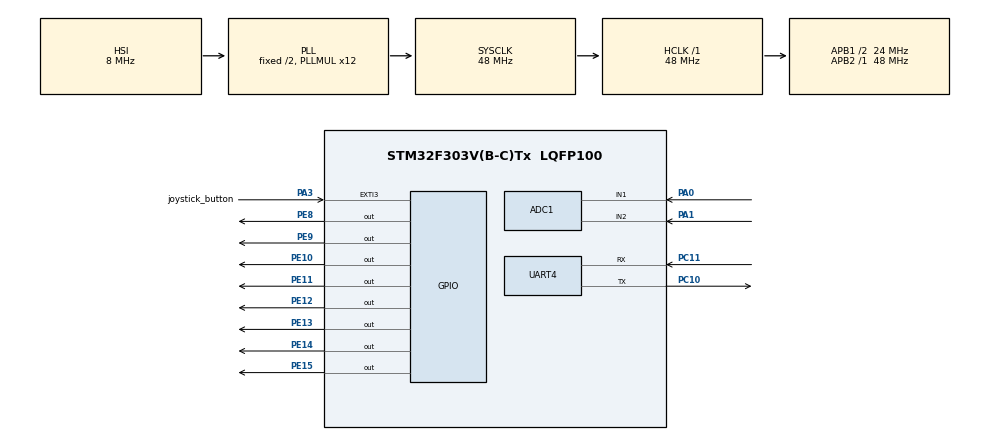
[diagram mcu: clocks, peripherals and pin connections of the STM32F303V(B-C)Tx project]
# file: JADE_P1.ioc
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ADC1.Channel-2\#ChannelRegularConversion=ADC_CHANNEL_1
ADC1.Channel-3\#ChannelRegularConversion=ADC_CHANNEL_2
ADC1.ClockPrescaler=ADC_CLOCK_SYNC_PCLK_DIV4
ADC1.ContinuousConvMode=ENABLE
ADC1.DMAContinuousRequests=ENABLE
ADC1.EOCSelection=ADC_EOC_SEQ_CONV
ADC1.EnableInjectedConversion=DISABLE
ADC1.NbrOfConversion=2
ADC1.NbrOfConversionFlag=1
ADC1.Offset-2\#ChannelRegularConversion=0
ADC1.Offset-3\#ChannelRegularConversion=0
ADC1.OffsetNumber-2\#ChannelRegularConversion=ADC_OFFSET_NONE
ADC1.OffsetNumber-3\#ChannelRegularConversion=ADC_OFFSET_NONE
ADC1.Rank-2\#ChannelRegularConversion=1
ADC1.Rank-3\#ChannelRegularConversion=2
ADC1.SamplingTime-2\#ChannelRegularConversion=ADC_SAMPLETIME_601CYCLES_5
ADC1.SamplingTime-3\#ChannelRegularConversion=ADC_SAMPLETIME_601CYCLES_5
ADC1.SamplingTimeOPAMP-3\#ChannelRegularConversion=ADC_SAMPLETIME_7CYCLES_5
ADC1.master=1
Dma.ADC1.0.Direction=DMA_PERIPH_TO_MEMORY
Dma.ADC1.0.Instance=DMA1_Channel1
Dma.ADC1.0.MemDataAlignment=DMA_MDATAALIGN_HALFWORD
Dma.ADC1.0.MemInc=DMA_MINC_ENABLE
Dma.ADC1.0.Mode=DMA_CIRCULAR
Dma.ADC1.0.PeriphDataAlignment=DMA_PDATAALIGN_HALFWORD
Dma.ADC1.0.PeriphInc=DMA_PINC_DISABLE
Dma.ADC1.0.Priority=DMA_PRIORITY_LOW
Dma.Request0=ADC1
Mcu.Family=STM32F3
Mcu.Name=STM32F303V(B-C)Tx
Mcu.Package=LQFP100
NVIC.DMA1_Channel1_IRQn=true\:0\:0\:false\:false\:true\:false\:true\:true
NVIC.EXTI3_IRQn=true\:0\:0\:false\:false\:true\:true\:true\:true
NVIC.PriorityGroup=NVIC_PRIORITYGROUP_0
PA0.Mode=IN1-Single-Ended
PA0.Signal=ADC1_IN1
PA1.Mode=IN2-Single-Ended
PA1.Signal=ADC1_IN2
PA3.GPIO_Label=joystick_button
PA3.GPIO_ModeDefaultEXTI=GPIO_MODE_IT_RISING_FALLING
PA3.GPIO_PuPd=GPIO_PULLUP
PA3.Signal=GPXTI3
PC10.Mode=Asynchronous
PC10.Signal=UART4_TX
PC11.Mode=Asynchronous
PC11.Signal=UART4_RX
PE10.Signal=GPIO_Output
PE11.Signal=GPIO_Output
PE12.Signal=GPIO_Output
PE13.Signal=GPIO_Output
PE14.Signal=GPIO_Output
PE15.Signal=GPIO_Output
PE8.Signal=GPIO_Output
PE9.Signal=GPIO_Output
ProjectManager.HeapSize=0x200
ProjectManager.StackSize=0x400
ProjectManager.TargetToolchain=STM32CubeIDE
RCC.AHBFreq_Value=48000000
RCC.APB1CLKDivider=RCC_HCLK_DIV2
RCC.APB1Freq_Value=24000000
RCC.APB1TimFreq_Value=48000000
RCC.APB2Freq_Value=48000000
RCC.APB2TimFreq_Value=48000000
RCC.CortexFreq_Value=48000000
RCC.HCLKFreq_Value=48000000
RCC.HSE_VALUE=8000000
RCC.HSI_VALUE=8000000
RCC.LSE_VALUE=32768
RCC.PLLMUL=RCC_PLL_MUL12
RCC.SYSCLKFreq_VALUE=48000000
RCC.SYSCLKSourceVirtual=RCC_SYSCLKSOURCE_PLLCLK
RCC.USBFreq_Value=48000000
board=STM32F3DISCOVERY

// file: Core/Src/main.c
/* USER CODE BEGIN Header */
/**
  ******************************************************************************
  * @file           : main.c
  * @brief          : Main program body
  ******************************************************************************
  * @attention
  *
  * Copyright (c) 2026 STMicroelectronics.
  * All rights reserved.
  *
  * This software is licensed under terms that can be found in the LICENSE file
  * in the root directory of this software component.
  * If no LICENSE file comes with this software, it is provided AS-IS.
  *
  ******************************************************************************
  */
/* USER CODE END Header */
#include "main.h"

/* USER CODE BEGIN Includes */
#include <math.h>
/* USER CODE END Includes */

ADC_HandleTypeDef hadc1;
DMA_HandleTypeDef hdma_adc1;

UART_HandleTypeDef huart4;

void SystemClock_Config(void);
static void MX_GPIO_Init(void);
static void MX_DMA_Init(void);
static void MX_ADC1_Init(void);
static void MX_UART4_Init(void);

/* USER CODE BEGIN 0 */
uint16_t joystickdata[2];
uint8_t flash_mode=0; // 1 = rilasciato, 0 = premuto
uint16_t discovery_leds[]={GPIO_PIN_9, GPIO_PIN_10, GPIO_PIN_11, GPIO_PIN_12,
                             GPIO_PIN_13, GPIO_PIN_14, GPIO_PIN_15, GPIO_PIN_8};
char uart_buf[50];
int buf_len;

void HAL_GPIO_EXTI_Callback(uint16_t GPIO_Pin)
{
  if(GPIO_Pin == joystick_button_Pin)
  {
    if (HAL_GPIO_ReadPin(joystick_button_GPIO_Port, joystick_button_Pin) == GPIO_PIN_RESET)
    {
      flash_mode=1;
    }
    else
    {
      flash_mode=0;
    }
  }
}
/* USER CODE END 0 */

int main(void)
{

  /* MCU Configuration--------------------------------------------------------*/

  /* Reset of all peripherals, Initializes the Flash interface and the Systick. */
  HAL_Init();

  /* Configure the system clock */
  SystemClock_Config();

  /* Initialize all configured peripherals */
  MX_GPIO_Init();
  MX_DMA_Init();
  MX_ADC1_Init();
  MX_UART4_Init();
  /* USER CODE BEGIN 2 */
  HAL_ADCEx_Calibration_Start(&hadc1, ADC_SINGLE_ENDED);
  HAL_ADC_Start_DMA(&hadc1, (uint32_t*)joystickdata, 2);
  /* USER CODE END 2 */

  /* Infinite loop */
  while (1)
  {

    /* USER CODE BEGIN 3 */
	  if (flash_mode)
		  {
			  GPIOE->ODR |= 0xFF00;
		  }
		  else
		  {
			  GPIOE->ODR &= ~0xFF00;

			  buf_len = sprintf(uart_buf, "%u,%u\n", joystickdata[0], joystickdata[1]);
			  HAL_UART_Transmit(&huart4, (uint8_t*)uart_buf, buf_len, 100);

			  float x = (float)joystickdata[0] - 2048;
			  float y = (float)joystickdata[1] - 2048;

			  //Zona morta
			  if ((x*x + y*y) > 500000) //Circa il 25% della corsa
			  {
				  // Calcolo angolo: atan2f restituisce radianti tra -PI e +PI
				  float angle = atan2f(y, x) * 180.0f / 3.14159f;
				  if (angle < 0) angle += 360.0f;

				  int led_index = (int)((angle + 22.5f) / 45.0f) % 8;

				  HAL_GPIO_WritePin(GPIOE, discovery_leds[led_index], GPIO_PIN_SET);
			  }
		  }
		  HAL_Delay(20);
  }
  /* USER CODE END 3 */
}

void SystemClock_Config(void)
{
  RCC_OscInitTypeDef RCC_OscInitStruct = {0};
  RCC_ClkInitTypeDef RCC_ClkInitStruct = {0};
  RCC_PeriphCLKInitTypeDef PeriphClkInit = {0};

  /** Initializes the RCC Oscillators according to the specified parameters
  * in the RCC_OscInitTypeDef structure.
  */
  RCC_OscInitStruct.OscillatorType = RCC_OSCILLATORTYPE_HSI;
  RCC_OscInitStruct.HSIState = RCC_HSI_ON;
  RCC_OscInitStruct.HSICalibrationValue = RCC_HSICALIBRATION_DEFAULT;
  RCC_OscInitStruct.PLL.PLLState = RCC_PLL_ON;
  RCC_OscInitStruct.PLL.PLLSource = RCC_PLLSOURCE_HSI;
  RCC_OscInitStruct.PLL.PLLMUL = RCC_PLL_MUL12;
  if (HAL_RCC_OscConfig(&RCC_OscInitStruct) != HAL_OK)
  {
    Error_Handler();
  }

  /** Initializes the CPU, AHB and APB buses clocks
  */
  RCC_ClkInitStruct.ClockType = RCC_CLOCKTYPE_HCLK|RCC_CLOCKTYPE_SYSCLK
                              |RCC_CLOCKTYPE_PCLK1|RCC_CLOCKTYPE_PCLK2;
  RCC_ClkInitStruct.SYSCLKSource = RCC_SYSCLKSOURCE_PLLCLK;
  RCC_ClkInitStruct.AHBCLKDivider = RCC_SYSCLK_DIV1;
  RCC_ClkInitStruct.APB1CLKDivider = RCC_HCLK_DIV2;
  RCC_ClkInitStruct.APB2CLKDivider = RCC_HCLK_DIV1;

  if (HAL_RCC_ClockConfig(&RCC_ClkInitStruct, FLASH_LATENCY_1) != HAL_OK)
  {
    Error_Handler();
  }
  PeriphClkInit.PeriphClockSelection = RCC_PERIPHCLK_UART4;
  PeriphClkInit.Uart4ClockSelection = RCC_UART4CLKSOURCE_PCLK1;
  if (HAL_RCCEx_PeriphCLKConfig(&PeriphClkInit) != HAL_OK)
  {
    Error_Handler();
  }
}

static void MX_ADC1_Init(void)
{

  ADC_MultiModeTypeDef multimode = {0};
  ADC_ChannelConfTypeDef sConfig = {0};

  /** Common config
  */
  hadc1.Instance = ADC1;
  hadc1.Init.ClockPrescaler = ADC_CLOCK_SYNC_PCLK_DIV4;
  hadc1.Init.Resolution = ADC_RESOLUTION_12B;
  hadc1.Init.ScanConvMode = ADC_SCAN_ENABLE;
  hadc1.Init.ContinuousConvMode = ENABLE;
  hadc1.Init.DiscontinuousConvMode = DISABLE;
  hadc1.Init.ExternalTrigConvEdge = ADC_EXTERNALTRIGCONVEDGE_NONE;
  hadc1.Init.ExternalTrigConv = ADC_SOFTWARE_START;
  hadc1.Init.DataAlign = ADC_DATAALIGN_RIGHT;
  hadc1.Init.NbrOfConversion = 2;
  hadc1.Init.DMAContinuousRequests = ENABLE;
  hadc1.Init.EOCSelection = ADC_EOC_SEQ_CONV;
  hadc1.Init.LowPowerAutoWait = DISABLE;
  hadc1.Init.Overrun = ADC_OVR_DATA_OVERWRITTEN;
  if (HAL_ADC_Init(&hadc1) != HAL_OK)
  {
    Error_Handler();
  }

  /** Configure the ADC multi-mode
  */
  multimode.Mode = ADC_MODE_INDEPENDENT;
  if (HAL_ADCEx_MultiModeConfigChannel(&hadc1, &multimode) != HAL_OK)
  {
    Error_Handler();
  }

  /** Configure Regular Channel
  */
  sConfig.Channel = ADC_CHANNEL_1;
  sConfig.Rank = ADC_REGULAR_RANK_1;
  sConfig.SingleDiff = ADC_SINGLE_ENDED;
  sConfig.SamplingTime = ADC_SAMPLETIME_601CYCLES_5;
  sConfig.OffsetNumber = ADC_OFFSET_NONE;
  sConfig.Offset = 0;
  if (HAL_ADC_ConfigChannel(&hadc1, &sConfig) != HAL_OK)
  {
    Error_Handler();
  }

  /** Configure Regular Channel
  */
  sConfig.Channel = ADC_CHANNEL_2;
  sConfig.Rank = ADC_REGULAR_RANK_2;
  if (HAL_ADC_ConfigChannel(&hadc1, &sConfig) != HAL_OK)
  {
    Error_Handler();
  }

}

static void MX_UART4_Init(void)
{

  huart4.Instance = UART4;
  huart4.Init.BaudRate = 115200;
  huart4.Init.WordLength = UART_WORDLENGTH_8B;
  huart4.Init.StopBits = UART_STOPBITS_1;
  huart4.Init.Parity = UART_PARITY_NONE;
  huart4.Init.Mode = UART_MODE_TX_RX;
  huart4.Init.HwFlowCtl = UART_HWCONTROL_NONE;
  huart4.Init.OverSampling = UART_OVERSAMPLING_16;
  huart4.Init.OneBitSampling = UART_ONE_BIT_SAMPLE_DISABLE;
  huart4.AdvancedInit.AdvFeatureInit = UART_ADVFEATURE_NO_INIT;
  if (HAL_UART_Init(&huart4) != HAL_OK)
  {
    Error_Handler();
  }

}

static void MX_DMA_Init(void)
{

  /* DMA controller clock enable */
  __HAL_RCC_DMA1_CLK_ENABLE();

  /* DMA interrupt init */
  /* DMA1_Channel1_IRQn interrupt configuration */
  HAL_NVIC_SetPriority(DMA1_Channel1_IRQn, 0, 0);
  HAL_NVIC_EnableIRQ(DMA1_Channel1_IRQn);

}

static void MX_GPIO_Init(void)
{
  GPIO_InitTypeDef GPIO_InitStruct = {0};

  /* GPIO Ports Clock Enable */
  __HAL_RCC_GPIOA_CLK_ENABLE();
  __HAL_RCC_GPIOE_CLK_ENABLE();
  __HAL_RCC_GPIOC_CLK_ENABLE();

  /*Configure GPIO pin Output Level */
  HAL_GPIO_WritePin(GPIOE, GPIO_PIN_8|GPIO_PIN_9|GPIO_PIN_10|GPIO_PIN_11
                          |GPIO_PIN_12|GPIO_PIN_13|GPIO_PIN_14|GPIO_PIN_15, GPIO_PIN_RESET);

  /*Configure GPIO pin : joystick_button_Pin */
  GPIO_InitStruct.Pin = joystick_button_Pin;
  GPIO_InitStruct.Mode = GPIO_MODE_IT_RISING_FALLING;
  GPIO_InitStruct.Pull = GPIO_PULLUP;
  HAL_GPIO_Init(joystick_button_GPIO_Port, &GPIO_InitStruct);

  /*Configure GPIO pins : PE8 PE9 PE10 PE11
                           PE12 PE13 PE14 PE15 */
  GPIO_InitStruct.Pin = GPIO_PIN_8|GPIO_PIN_9|GPIO_PIN_10|GPIO_PIN_11
                          |GPIO_PIN_12|GPIO_PIN_13|GPIO_PIN_14|GPIO_PIN_15;
  GPIO_InitStruct.Mode = GPIO_MODE_OUTPUT_PP;
  GPIO_InitStruct.Pull = GPIO_NOPULL;
  GPIO_InitStruct.Speed = GPIO_SPEED_FREQ_LOW;
  HAL_GPIO_Init(GPIOE, &GPIO_InitStruct);

  /* EXTI interrupt init*/
  HAL_NVIC_SetPriority(EXTI3_IRQn, 0, 0);
  HAL_NVIC_EnableIRQ(EXTI3_IRQn);

}

void Error_Handler(void)
{
  __disable_irq();
  while (1)
  {
  }
}
